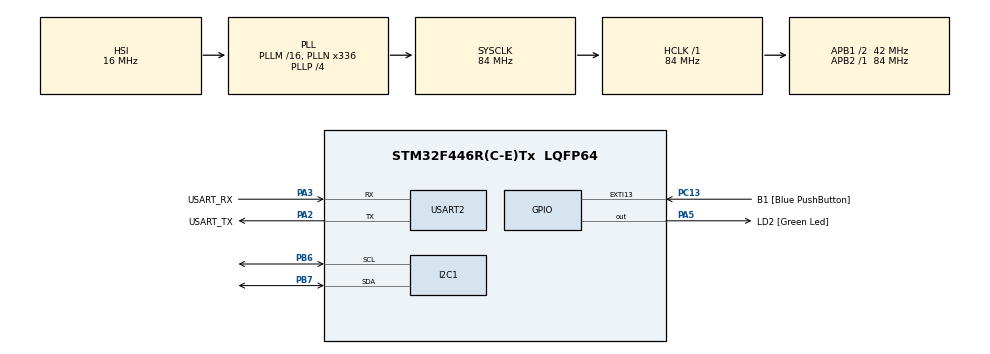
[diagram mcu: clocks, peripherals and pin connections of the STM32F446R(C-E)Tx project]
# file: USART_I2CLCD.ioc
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Dma.Request0=USART2_RX
Dma.USART2_RX.0.Direction=DMA_PERIPH_TO_MEMORY
Dma.USART2_RX.0.FIFOMode=DMA_FIFOMODE_DISABLE
Dma.USART2_RX.0.Instance=DMA1_Stream5
Dma.USART2_RX.0.MemDataAlignment=DMA_MDATAALIGN_BYTE
Dma.USART2_RX.0.MemInc=DMA_MINC_ENABLE
Dma.USART2_RX.0.Mode=DMA_NORMAL
Dma.USART2_RX.0.PeriphDataAlignment=DMA_PDATAALIGN_BYTE
Dma.USART2_RX.0.PeriphInc=DMA_PINC_DISABLE
Dma.USART2_RX.0.Priority=DMA_PRIORITY_LOW
Mcu.Family=STM32F4
Mcu.Name=STM32F446R(C-E)Tx
Mcu.Package=LQFP64
NVIC.DMA1_Stream5_IRQn=true\:0\:0\:false\:false\:true\:false\:true
NVIC.PriorityGroup=NVIC_PRIORITYGROUP_0
NVIC.USART2_IRQn=true\:0\:0\:false\:false\:true\:true\:true
PA13.GPIO_Label=TMS
PA13.Mode=Serial_Wire
PA13.Signal=SYS_JTMS-SWDIO
PA14.GPIO_Label=TCK
PA14.Mode=Serial_Wire
PA14.Signal=SYS_JTCK-SWCLK
PA2.GPIO_Label=USART_TX
PA2.Mode=Asynchronous
PA2.Signal=USART2_TX
PA3.GPIO_Label=USART_RX
PA3.Mode=Asynchronous
PA3.Signal=USART2_RX
PA5.GPIO_Label=LD2 [Green Led]
PA5.Signal=GPIO_Output
PB3.GPIO_Label=SWO
PB3.Signal=SYS_JTDO-SWO
PB6.Mode=I2C
PB6.Signal=I2C1_SCL
PB7.Mode=I2C
PB7.Signal=I2C1_SDA
PC13.GPIO_Label=B1 [Blue PushButton]
PC13.GPIO_ModeDefaultEXTI=GPIO_MODE_IT_FALLING
PC13.Signal=GPXTI13
PC14-OSC32_IN.Mode=LSE-External-Oscillator
PC14-OSC32_IN.Signal=RCC_OSC32_IN
PC15-OSC32_OUT.Mode=LSE-External-Oscillator
PC15-OSC32_OUT.Signal=RCC_OSC32_OUT
PH0-OSC_IN.Mode=HSE-External-Oscillator
PH0-OSC_IN.Signal=RCC_OSC_IN
PH1-OSC_OUT.Mode=HSE-External-Oscillator
PH1-OSC_OUT.Signal=RCC_OSC_OUT
ProjectManager.HeapSize=0x200
ProjectManager.StackSize=0x400
ProjectManager.TargetToolchain=MDK-ARM V5.32
RCC.48MHZClocksFreq_Value=84000000
RCC.AHBFreq_Value=84000000
RCC.APB1CLKDivider=RCC_HCLK_DIV2
RCC.APB1Freq_Value=42000000
RCC.APB1TimFreq_Value=84000000
RCC.APB2Freq_Value=84000000
RCC.APB2TimFreq_Value=84000000
RCC.CortexFreq_Value=84000000
RCC.FLatency-AdvancedSettings=FLASH_LATENCY_2
RCC.HCLKFreq_Value=84000000
RCC.HSE_VALUE=8000000
RCC.HSI_VALUE=16000000
RCC.PLLN=336
RCC.PLLP=RCC_PLLP_DIV4
RCC.SYSCLKFreq_VALUE=84000000
RCC.SYSCLKSource=RCC_SYSCLKSOURCE_PLLCLK
RCC.USBFreq_Value=168000000
RCC.VCOOutputFreq_Value=336000000
USART2.VirtualMode=VM_ASYNC
board=NUCLEO-F446RE

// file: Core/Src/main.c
/* USER CODE BEGIN Header */
/**
  ******************************************************************************
  * @file           : main.c
  * @brief          : Main program body
  ******************************************************************************
  * @attention
  *
  * <h2><center>&copy; Copyright (c) 2021 STMicroelectronics.
  * All rights reserved.</center></h2>
  *
  * This software component is licensed by ST under BSD 3-Clause license,
  * the "License"; You may not use this file except in compliance with the
  * License. You may obtain a copy of the License at:
  *                        opensource.org/licenses/BSD-3-Clause
  *
  ******************************************************************************
  */
/* USER CODE END Header */
#include "main.h"
#include "i2c-lcd.h"

I2C_HandleTypeDef hi2c1;

UART_HandleTypeDef huart2;
DMA_HandleTypeDef hdma_usart2_rx;

/* USER CODE BEGIN PV */
unsigned char buf[25];
uint8_t cnt = 0;
uint8_t col = 0;
uint8_t row = 0;
uint8_t debug = 0;
/* USER CODE END PV */

void SystemClock_Config(void);
static void MX_GPIO_Init(void);
static void MX_I2C1_Init(void);
static void MX_DMA_Init(void);
static void MX_USART2_UART_Init(void);

int main(void)
{

  /* MCU Configuration--------------------------------------------------------*/

  /* Reset of all peripherals, Initializes the Flash interface and the Systick. */
  HAL_Init();

  /* Configure the system clock */
  SystemClock_Config();

  /* Initialize all configured peripherals */
  MX_GPIO_Init();
  MX_I2C1_Init();
  MX_DMA_Init();
  MX_USART2_UART_Init();

  /* USER CODE BEGIN 2 */
	lcd_init();
	lcd_clear();

	lcd_put_cur(1,3);
	lcd_send_string("STM32 UART LCD");
	lcd_put_cur(2,6);
	lcd_send_string("CONTROL");

	HAL_Delay(2000);
	lcd_clear();
	lcd_put_cur(0,0);

	HAL_UARTEx_ReceiveToIdle_DMA(&huart2,buf,25);
	__HAL_DMA_DISABLE_IT(&hdma_usart2_rx, DMA_IT_HT);
  /* USER CODE END 2 */

  /* Infinite loop */
  while (1)
  {

  }
}

void SystemClock_Config(void)
{
  RCC_OscInitTypeDef RCC_OscInitStruct = {0};
  RCC_ClkInitTypeDef RCC_ClkInitStruct = {0};

  /** Configure the main internal regulator output voltage
  */
  __HAL_RCC_PWR_CLK_ENABLE();
  __HAL_PWR_VOLTAGESCALING_CONFIG(PWR_REGULATOR_VOLTAGE_SCALE3);
  /** Initializes the RCC Oscillators according to the specified parameters
  * in the RCC_OscInitTypeDef structure.
  */
  RCC_OscInitStruct.OscillatorType = RCC_OSCILLATORTYPE_HSI;
  RCC_OscInitStruct.HSIState = RCC_HSI_ON;
  RCC_OscInitStruct.HSICalibrationValue = RCC_HSICALIBRATION_DEFAULT;
  RCC_OscInitStruct.PLL.PLLState = RCC_PLL_ON;
  RCC_OscInitStruct.PLL.PLLSource = RCC_PLLSOURCE_HSI;
  RCC_OscInitStruct.PLL.PLLM = 16;
  RCC_OscInitStruct.PLL.PLLN = 336;
  RCC_OscInitStruct.PLL.PLLP = RCC_PLLP_DIV4;
  RCC_OscInitStruct.PLL.PLLQ = 2;
  RCC_OscInitStruct.PLL.PLLR = 2;
  if (HAL_RCC_OscConfig(&RCC_OscInitStruct) != HAL_OK)
  {
    Error_Handler();
  }
  /** Initializes the CPU, AHB and APB buses clocks
  */
  RCC_ClkInitStruct.ClockType = RCC_CLOCKTYPE_HCLK|RCC_CLOCKTYPE_SYSCLK
                              |RCC_CLOCKTYPE_PCLK1|RCC_CLOCKTYPE_PCLK2;
  RCC_ClkInitStruct.SYSCLKSource = RCC_SYSCLKSOURCE_PLLCLK;
  RCC_ClkInitStruct.AHBCLKDivider = RCC_SYSCLK_DIV1;
  RCC_ClkInitStruct.APB1CLKDivider = RCC_HCLK_DIV2;
  RCC_ClkInitStruct.APB2CLKDivider = RCC_HCLK_DIV1;

  if (HAL_RCC_ClockConfig(&RCC_ClkInitStruct, FLASH_LATENCY_2) != HAL_OK)
  {
    Error_Handler();
  }
}

static void MX_I2C1_Init(void)
{

  hi2c1.Instance = I2C1;
  hi2c1.Init.ClockSpeed = 100000;
  hi2c1.Init.DutyCycle = I2C_DUTYCYCLE_2;
  hi2c1.Init.OwnAddress1 = 0;
  hi2c1.Init.AddressingMode = I2C_ADDRESSINGMODE_7BIT;
  hi2c1.Init.DualAddressMode = I2C_DUALADDRESS_DISABLE;
  hi2c1.Init.OwnAddress2 = 0;
  hi2c1.Init.GeneralCallMode = I2C_GENERALCALL_DISABLE;
  hi2c1.Init.NoStretchMode = I2C_NOSTRETCH_DISABLE;
  if (HAL_I2C_Init(&hi2c1) != HAL_OK)
  {
    Error_Handler();
  }

}

static void MX_USART2_UART_Init(void)
{

  huart2.Instance = USART2;
  huart2.Init.BaudRate = 115200;
  huart2.Init.WordLength = UART_WORDLENGTH_8B;
  huart2.Init.StopBits = UART_STOPBITS_1;
  huart2.Init.Parity = UART_PARITY_NONE;
  huart2.Init.Mode = UART_MODE_TX_RX;
  huart2.Init.HwFlowCtl = UART_HWCONTROL_NONE;
  huart2.Init.OverSampling = UART_OVERSAMPLING_16;
  if (HAL_UART_Init(&huart2) != HAL_OK)
  {
    Error_Handler();
  }

}

static void MX_DMA_Init(void)
{

  /* DMA controller clock enable */
  __HAL_RCC_DMA1_CLK_ENABLE();

  /* DMA interrupt init */
  /* DMA1_Stream5_IRQn interrupt configuration */
  HAL_NVIC_SetPriority(DMA1_Stream5_IRQn, 0, 0);
  HAL_NVIC_EnableIRQ(DMA1_Stream5_IRQn);

}

static void MX_GPIO_Init(void)
{
  GPIO_InitTypeDef GPIO_InitStruct = {0};

  /* GPIO Ports Clock Enable */
  __HAL_RCC_GPIOC_CLK_ENABLE();
  __HAL_RCC_GPIOH_CLK_ENABLE();
  __HAL_RCC_GPIOA_CLK_ENABLE();
  __HAL_RCC_GPIOB_CLK_ENABLE();

  /*Configure GPIO pin Output Level */
  HAL_GPIO_WritePin(LD2_GPIO_Port, LD2_Pin, GPIO_PIN_RESET);

  /*Configure GPIO pin : B1_Pin */
  GPIO_InitStruct.Pin = B1_Pin;
  GPIO_InitStruct.Mode = GPIO_MODE_IT_FALLING;
  GPIO_InitStruct.Pull = GPIO_NOPULL;
  HAL_GPIO_Init(B1_GPIO_Port, &GPIO_InitStruct);

  /*Configure GPIO pin : LD2_Pin */
  GPIO_InitStruct.Pin = LD2_Pin;
  GPIO_InitStruct.Mode = GPIO_MODE_OUTPUT_PP;
  GPIO_InitStruct.Pull = GPIO_NOPULL;
  GPIO_InitStruct.Speed = GPIO_SPEED_FREQ_LOW;
  HAL_GPIO_Init(LD2_GPIO_Port, &GPIO_InitStruct);

}

/* USER CODE BEGIN 4 */
//void HAL_UART_RxCpltCallback(UART_HandleTypeDef *huart)
//{
//
//  /* Prevent unused argument(s) compilation warning */
//  UNUSED(huart);
//  /* NOTE: This function should not be modified, when the callback is needed,
//           the HAL_UART_RxCpltCallback could be implemented in the user file
//   */
//	HAL_GPIO_WritePin(GPIOA,GPIO_PIN_5,GPIO_PIN_SET);
//
//	unsigned char *p = buf;
//
//	while(*p)
//	{
//		cnt++;
//		p++;
//	}
//	HAL_UART_Transmit(&huart2, (uint8_t*)buf, (uint16_t)cnt,10);
//}
void HAL_UARTEx_RxEventCallback(UART_HandleTypeDef *huart, uint16_t Size)
{
  if(huart ->Instance == USART2)
	{

		unsigned char *ptr = buf;

		//if LCD address position input , format : '{row,col}'
		// {1,22}
		if(buf[0] == '{'){
			uint8_t hasComma = 0;

			ptr++;

			if(*ptr >= '0' && *ptr <= '3'){ //row range 0-3
						row = *ptr - '0';
			}
			else{
				HAL_UART_Transmit(&huart2, (uint8_t*)"ERROR: Invalid row input. Only input 0 - 3.", (uint16_t)43, 10);
			}

			ptr++;

			if(*ptr == ',') {
				hasComma = 1;
				ptr++;
			}

			if(hasComma) { // Col
				if(*ptr >= '0' && *ptr <= '9'){ //col range 0-19
					col = *ptr - '0';
					if(*(ptr+1) >= '0' && *(ptr+1) <= '9')
					{
						col = (col * 10) + (*(ptr+1) - 48);
						ptr++;
					}

					if(col > 19) // Error trap , invalid input
					{
						//col = 0;
						HAL_UART_Transmit(&huart2, (uint8_t*)"ERROR: Invalid col input. Only input 0 - 19.", (uint16_t)44, 10);
					}
				}
			}
			else {
					HAL_UART_Transmit(&huart2, (uint8_t*)"ERROR: Invalid format. Add ',' to separate col and row.", (uint16_t)43, 10);
			}

			ptr++;

			if(*ptr == '}') {
				uint8_t okReply[6] = "OK.";
				okReply[3] = 0x0D; okReply[4] = 0x0A; // Append CR + LF at the end.
				lcd_put_cur(row,col);
				HAL_UART_Transmit(&huart2, okReply, (uint16_t)5, 10);
			}
			ptr = buf;
			while(*ptr)*ptr++ = 0;
		}
		else if(buf[0] == '$'){ //'$c' clear command
			if(*(++ptr) == 'c'){
				lcd_clear();
				lcd_put_cur(0,0);
			}
		}
		else{
			//Count received bytes
			while(*ptr++) cnt++;
			HAL_UART_Transmit(&huart2, (uint8_t*)buf, (uint16_t)cnt,10);
			lcd_send_string((char *)buf);
			ptr = buf;
			while(*ptr)*ptr++ = 0;
			cnt = 0;

		}

	}

	HAL_UARTEx_ReceiveToIdle_DMA(&huart2, (uint8_t *) buf, 20);
		__HAL_DMA_DISABLE_IT(&hdma_usart2_rx, DMA_IT_HT);
}

/* USER CODE END 4 */

void Error_Handler(void)
{
  __disable_irq();
  while (1)
  {
  }
}

/************************ (C) COPYRIGHT STMicroelectronics *****END OF FILE****/
